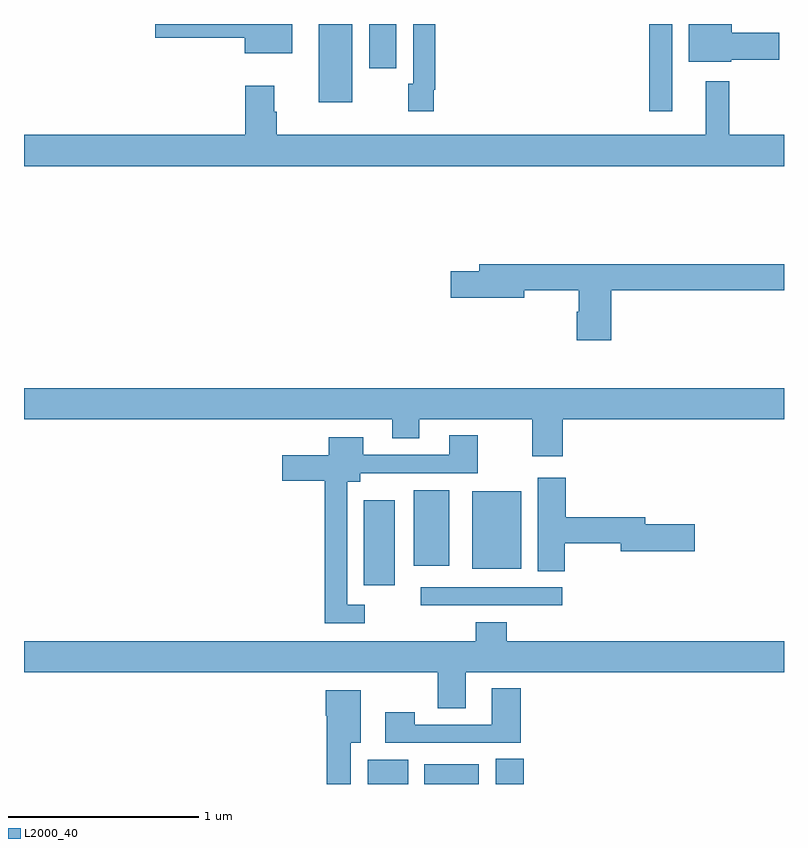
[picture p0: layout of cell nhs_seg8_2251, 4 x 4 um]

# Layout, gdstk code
import gdstk
lib = gdstk.Library(unit=1e-6, precision=1e-09)
def R(c, l, rs):  # rectangles x0, y0, x1, y1
    for r in rs: c.add(gdstk.rectangle(r[:2], r[2:], *l))
def P(c, l, *ps):  # polygons
    for p in ps: c.add(gdstk.Polygon(p, *l))
L2000_40 = (2000, 40)

nhs_seg8_2251 = lib.new_cell('nhs_seg8_2251')
R(nhs_seg8_2251, L2000_40, [(254.81,1127.9,255.022,1128.028), (255.107,1127.9,255.394,1128.004), (255.482,1127.9,255.629,1128.032), (255.087,1128.84,255.832,1128.936), (254.789,1128.945,254.95,1129.393), (255.359,1129.034,255.616,1129.441), (255.05,1129.049,255.238,1129.447), (256.29,1131.441,256.411,1131.9), (254.552,1131.488,254.728,1131.9), (254.816,1131.666,254.959,1131.9)])
P(nhs_seg8_2251, L2000_40, [(255.157,1131.553),(255.164,1131.553),(255.164,1131.9),(255.048,1131.9),(255.048,1131.585),(255.022,1131.585),(255.022,1131.441),(255.157,1131.441)],
  [(254.413,1131.9),(253.692,1131.9),(253.692,1131.827),(254.162,1131.827),(254.162,1131.746),(254.413,1131.746)],
  [(256.722,1131.712),(256.975,1131.712),(256.975,1131.854),(256.726,1131.854),(256.726,1131.9),(256.499,1131.9),(256.499,1131.701),(256.722,1131.701)],
  [(257,1131.316),(256.711,1131.316),(256.711,1131.598),(256.589,1131.598),(256.589,1131.316),(254.33,1131.316),(254.33,1131.437),(254.317,1131.437),(254.317,1131.574),(254.165,1131.574),(254.165,1131.316),(253,1131.316),(253,1131.152),(257,1131.152)],
  [(256.091,1130.5),(257,1130.5),(257,1130.636),(255.395,1130.636),(255.395,1130.6),(255.246,1130.6),(255.246,1130.458),(255.634,1130.458),(255.634,1130.5),(255.92,1130.5),(255.92,1130.385),(255.908,1130.385),(255.908,1130.235),(256.091,1130.235)],
  [(253,1129.82),(254.939,1129.82),(254.939,1129.721),(255.079,1129.721),(255.079,1129.82),(255.676,1129.82),(255.676,1129.626),(255.836,1129.626),(255.836,1129.82),(257,1129.82),(257,1129.984),(253,1129.984)],
  [(254.794,1128.843),(254.7,1128.843),(254.7,1129.49),(254.77,1129.49),(254.77,1129.536),(255.387,1129.536),(255.387,1129.735),(255.239,1129.735),(255.239,1129.632),(254.785,1129.632),(254.785,1129.726),(254.603,1129.726),(254.603,1129.63),(254.358,1129.63),(254.358,1129.496),(254.584,1129.496),(254.584,1128.747),(254.794,1128.747)],
  [(255.846,1129.168),(256.142,1129.168),(256.142,1129.126),(256.531,1129.126),(256.531,1129.268),(256.27,1129.268),(256.27,1129.304),(255.851,1129.304),(255.851,1129.513),(255.704,1129.513),(255.704,1129.021),(255.846,1129.021)],
  [(255.325,1128.488),(257,1128.488),(257,1128.652),(255.542,1128.652),(255.542,1128.751),(255.377,1128.751),(255.377,1128.652),(253,1128.652),(253,1128.488),(255.178,1128.488),(255.178,1128.298),(255.325,1128.298)],
  [(255.614,1128.403),(255.461,1128.403),(255.461,1128.213),(255.057,1128.213),(255.057,1128.277),(254.901,1128.277),(254.901,1128.117),(255.614,1128.117)],
  [(254.719,1128.116),(254.773,1128.116),(254.773,1128.394),(254.588,1128.394),(254.588,1128.258),(254.594,1128.258),(254.594,1127.9),(254.719,1127.9)])

lib.write_gds('nhs_seg8_2251.gds')
